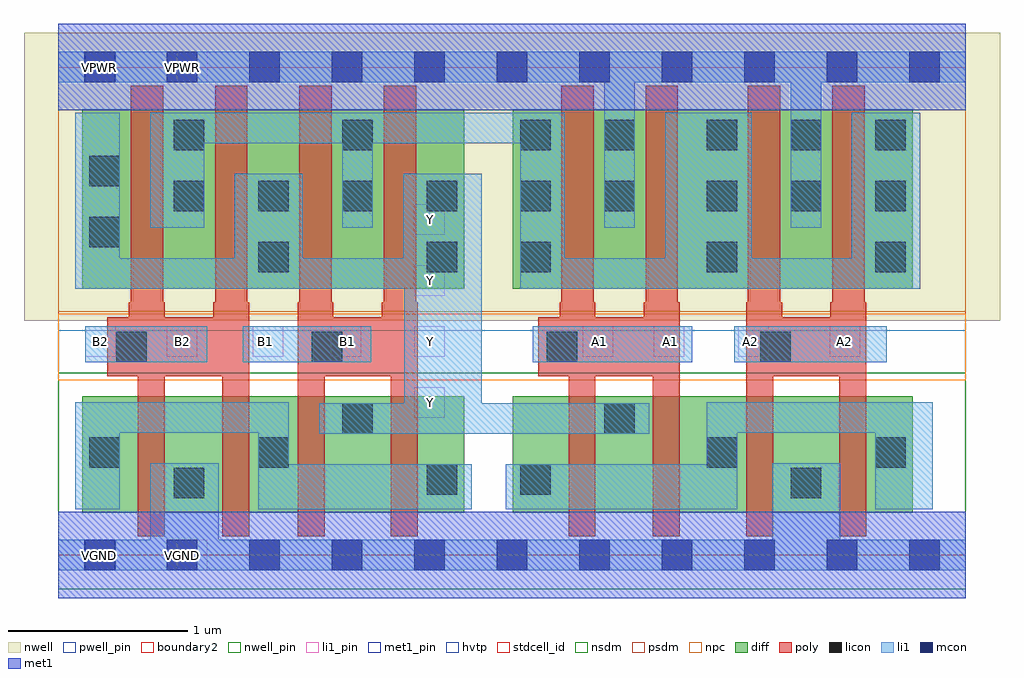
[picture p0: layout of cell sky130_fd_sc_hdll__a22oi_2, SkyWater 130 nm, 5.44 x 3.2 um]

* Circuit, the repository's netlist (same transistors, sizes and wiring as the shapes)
* Copyright 2020 The SkyWater PDK Authors
*
* Licensed under the Apache License, Version 2.0 (the "License");
* you may not use this file except in compliance with the License.
* You may obtain a copy of the License at
*
*     https://www.apache.org/licenses/LICENSE-2.0
*
* Unless required by applicable law or agreed to in writing, software
* distributed under the License is distributed on an "AS IS" BASIS,
* WITHOUT WARRANTIES OR CONDITIONS OF ANY KIND, either express or implied.
* See the License for the specific language governing permissions and
* limitations under the License.
*
* SPDX-License-Identifier: Apache-2.0

.SUBCKT sky130_fd_sc_hdll__a22oi_2 A1 A2 B1 B2 VGND VNB VPB VPWR Y
*.PININFO A1:I A2:I B1:I B2:I VGND:I VNB:I VPB:I VPWR:I Y:O
MMPA0 pndA A1 VPWR VPB sky130_fd_pr__pfet_01v8_hvt m=2 w=1.0U l=0.18U mult=1 sa=0.265
+ sb=0.265 sd=0.28 area=0.063 perim=1.14
MMPA1 pndA A2 VPWR VPB sky130_fd_pr__pfet_01v8_hvt m=2 w=1.0U l=0.18U mult=1 sa=0.265
+ sb=0.265 sd=0.28 area=0.063 perim=1.14
MMPB0 Y B1 pndA VPB sky130_fd_pr__pfet_01v8_hvt m=2 w=1.0U l=0.18U mult=1 sa=0.265
+ sb=0.265 sd=0.28 area=0.063 perim=1.14
MMPB1 Y B2 pndA VPB sky130_fd_pr__pfet_01v8_hvt m=2 w=1.0U l=0.18U mult=1 sa=0.265
+ sb=0.265 sd=0.28 area=0.063 perim=1.14
MMNA0 Y A1 sndA1 VNB sky130_fd_pr__nfet_01v8 m=2 w=0.65U l=0.15U mult=1 sa=0.265
+ sb=0.265 sd=0.28 area=0.063 perim=1.14
MMNA1 sndA1 A2 VGND VNB sky130_fd_pr__nfet_01v8 m=2 w=0.65U l=0.15U mult=1 sa=0.265
+ sb=0.265 sd=0.28 area=0.063 perim=1.14
MMNB0 Y B1 sndB1 VNB sky130_fd_pr__nfet_01v8 m=2 w=0.65U l=0.15U mult=1 sa=0.265
+ sb=0.265 sd=0.28 area=0.063 perim=1.14
MMNB1 sndB1 B2 VGND VNB sky130_fd_pr__nfet_01v8 m=2 w=0.65U l=0.15U mult=1 sa=0.265
+ sb=0.265 sd=0.28 area=0.063 perim=1.14
.ENDS sky130_fd_sc_hdll__a22oi_2

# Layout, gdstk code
import gdstk
lib = gdstk.Library(unit=1e-6, precision=1e-09)
def R(c, l, rs):  # rectangles x0, y0, x1, y1
    for r in rs: c.add(gdstk.rectangle(r[:2], r[2:], *l))
def A(c, l, x, y, w, h, nx, ny, dx, dy):  # array of equal rectangles
    R(c, l, [(x+i*dx, y+j*dy, x+i*dx+w, y+j*dy+h) for i in range(nx) for j in range(ny)])
def P(c, l, *ps):  # polygons
    for p in ps: c.add(gdstk.Polygon(p, *l))
nwell_pin = (64, 16)
nwell = (64, 20)
diff = (65, 20)
poly = (66, 20)
licon = (66, 44)
li1_pin = (67, 16)
li1 = (67, 20)
mcon = (67, 44)
met1_pin = (68, 16)
met1 = (68, 20)
hvtp = (78, 44)
stdcell_id = (81, 4)
nsdm = (93, 44)
psdm = (94, 20)
npc = (95, 20)
pwell_pin = (122, 16)
boundary2 = (236, 0)

sky130_fd_sc_hdll__a22oi = lib.new_cell('sky130_fd_sc_hdll__a22oi_2')
R(sky130_fd_sc_hdll__a22oi, nwell_pin, [(0.15,2.635,0.32,2.805)])
R(sky130_fd_sc_hdll__a22oi, nwell, [(-0.19,1.305,5.25,2.91)])
R(sky130_fd_sc_hdll__a22oi, diff, [(0.135,0.235,2.265,0.885), (2.535,0.235,4.765,0.885), (0.135,1.485,2.265,2.485), (2.535,1.485,4.765,2.485)])
P(sky130_fd_sc_hdll__a22oi, poly, [(1.065,1.41),(1.055,1.41),(1.055,2.615),(0.875,2.615),(0.875,1.41),(0.865,1.41),(0.865,1.325),(0.595,1.325),(0.595,1.41),(0.585,1.41),(0.585,2.615),(0.405,2.615),(0.405,1.41),(0.395,1.41),(0.395,1.325),(0.275,1.325),(0.275,0.995),(0.445,0.995),(0.445,0.105),(0.595,0.105),(0.595,0.995),(0.915,0.995),(0.915,0.105),(1.065,0.105)],
  [(2.005,1.41),(1.995,1.41),(1.995,2.615),(1.815,2.615),(1.815,1.41),(1.805,1.41),(1.805,1.325),(1.535,1.325),(1.535,1.41),(1.525,1.41),(1.525,2.615),(1.345,2.615),(1.345,1.41),(1.335,1.41),(1.335,0.105),(1.485,0.105),(1.485,0.995),(1.855,0.995),(1.855,0.105),(2.005,0.105)],
  [(3.465,1.41),(3.455,1.41),(3.455,2.615),(3.275,2.615),(3.275,1.41),(3.265,1.41),(3.265,1.325),(2.995,1.325),(2.995,1.41),(2.985,1.41),(2.985,2.615),(2.805,2.615),(2.805,1.41),(2.795,1.41),(2.795,1.325),(2.675,1.325),(2.675,0.995),(2.845,0.995),(2.845,0.105),(2.995,0.105),(2.995,0.995),(3.315,0.995),(3.315,0.105),(3.465,0.105)],
  [(4.505,1.41),(4.495,1.41),(4.495,2.615),(4.315,2.615),(4.315,1.41),(4.305,1.41),(4.305,1.325),(4.035,1.325),(4.035,1.41),(4.025,1.41),(4.025,2.615),(3.845,2.615),(3.845,1.41),(3.835,1.41),(3.835,0.105),(3.985,0.105),(3.985,0.995),(4.355,0.995),(4.355,0.105),(4.505,0.105)])
A(sky130_fd_sc_hdll__a22oi, licon, 2.575, 1.575, 0.17, 0.17, 1, 3, 0, 0.34)
A(sky130_fd_sc_hdll__a22oi, licon, 0.645, 1.915, 0.17, 0.17, 4, 1, 0.47, 0)
A(sky130_fd_sc_hdll__a22oi, licon, 3.615, 1.915, 0.17, 0.17, 3, 2, 0.47, 0.34)
R(sky130_fd_sc_hdll__a22oi, licon, [(0.645,0.315,0.815,0.485), (4.085,0.315,4.255,0.485), (2.055,0.335,2.225,0.505), (2.575,0.335,2.745,0.505), (0.175,0.485,0.345,0.655), (1.115,0.485,1.285,0.655), (3.615,0.485,3.785,0.655), (4.555,0.485,4.725,0.655), (1.585,0.675,1.755,0.845), (3.045,0.675,3.215,0.845), (0.325,1.075,0.495,1.245), (1.415,1.075,1.585,1.245), (2.725,1.075,2.895,1.245), (3.915,1.075,4.085,1.245), (1.115,1.575,1.285,1.745), (2.055,1.575,2.225,1.745), (3.615,1.575,3.785,1.745), (4.555,1.575,4.725,1.745), (0.175,1.715,0.345,1.885), (3.045,1.915,3.215,2.085), (0.175,2.055,0.345,2.225), (0.645,2.255,0.815,2.425), (1.585,2.255,1.755,2.425), (3.045,2.255,3.215,2.425)])
A(sky130_fd_sc_hdll__a22oi, li1_pin, 1.985, 0.765, 0.17, 0.17, 1, 4, 0, 0.34)
R(sky130_fd_sc_hdll__a22oi, li1_pin, [(0.66,-0.085,0.83,0.085), (0.15,1.105,0.32,1.275), (0.605,1.105,0.775,1.275), (1.085,1.105,1.255,1.275), (1.52,1.105,1.69,1.275), (2.925,1.105,3.095,1.275), (3.32,1.105,3.49,1.275), (3.79,1.105,3.96,1.275), (4.3,1.105,4.47,1.275), (0.66,2.635,0.83,2.805)])
R(sky130_fd_sc_hdll__a22oi, li1, [(0.15,1.075,0.83,1.275), (1.03,1.075,1.745,1.275), (2.645,1.075,3.535,1.275), (3.77,1.075,4.62,1.275)])
P(sky130_fd_sc_hdll__a22oi, li1, [(5.06,2.805),(0,2.805),(0,2.635),(3.045,2.635),(3.045,1.825),(3.215,1.825),(3.215,2.635),(4.085,2.635),(4.085,1.825),(4.255,1.825),(4.255,2.635),(5.06,2.635)],
  [(5.06,0.085),(4.36,0.085),(4.36,0.51),(3.98,0.51),(3.98,0.085),(0.895,0.085),(0.895,0.51),(0.515,0.51),(0.515,0.085),(0,0.085),(0,-0.085),(5.06,-0.085)],
  [(4.875,0.85),(3.615,0.85),(3.615,0.505),(2.495,0.505),(2.495,0.255),(3.785,0.255),(3.785,0.68),(4.555,0.68),(4.555,0.255),(4.875,0.255)],
  [(4.805,2.465),(4.425,2.465),(4.425,1.655),(3.865,1.655),(3.865,2.465),(3.385,2.465),(3.385,1.655),(2.825,1.655),(2.825,2.465),(0.515,2.465),(0.515,1.825),(0.815,1.825),(0.815,2.295),(1.585,2.295),(1.585,1.825),(1.755,1.825),(1.755,2.295),(2.575,2.295),(2.575,1.485),(4.805,1.485)],
  [(3.295,0.845),(2.36,0.845),(2.36,2.125),(1.925,2.125),(1.925,1.655),(1.365,1.655),(1.365,2.125),(0.985,2.125),(0.985,1.655),(0.345,1.655),(0.345,2.465),(0.095,2.465),(0.095,1.485),(1.93,1.485),(1.93,0.845),(1.455,0.845),(1.455,0.675),(3.295,0.675)],
  [(2.305,0.505),(1.285,0.505),(1.285,0.85),(0.095,0.85),(0.095,0.255),(0.345,0.255),(0.345,0.68),(1.115,0.68),(1.115,0.255),(2.305,0.255)])
A(sky130_fd_sc_hdll__a22oi, mcon, 0.145, -0.085, 0.17, 0.17, 11, 2, 0.46, 2.72)
R(sky130_fd_sc_hdll__a22oi, met1_pin, [(0.15,-0.085,0.32,0.085), (0.15,2.635,0.32,2.805)])
R(sky130_fd_sc_hdll__a22oi, met1, [(0,-0.24,5.06,0.24), (0,2.48,5.06,2.96)])
R(sky130_fd_sc_hdll__a22oi, hvtp, [(0,1.25,5.06,2.72)])
R(sky130_fd_sc_hdll__a22oi, stdcell_id, [(0,0,5.06,2.72)])
R(sky130_fd_sc_hdll__a22oi, nsdm, [(0,-0.19,5.06,1.015)])
R(sky130_fd_sc_hdll__a22oi, psdm, [(0,1.355,5.06,2.91)])
R(sky130_fd_sc_hdll__a22oi, npc, [(0,0.975,5.06,1.345)])
R(sky130_fd_sc_hdll__a22oi, pwell_pin, [(0.15,-0.085,0.32,0.085)])
R(sky130_fd_sc_hdll__a22oi, boundary2, [(0,0,5.06,2.72)])
sky130_fd_sc_hdll__a22oi.add(gdstk.Label('A1', (3.415,1.19), layer=67, texttype=5))
sky130_fd_sc_hdll__a22oi.add(gdstk.Label('A1', (3.015,1.19), layer=67, texttype=5))
sky130_fd_sc_hdll__a22oi.add(gdstk.Label('A2', (3.86,1.19), layer=67, texttype=5))
sky130_fd_sc_hdll__a22oi.add(gdstk.Label('A2', (4.385,1.19), layer=67, texttype=5))
sky130_fd_sc_hdll__a22oi.add(gdstk.Label('B1', (1.615,1.19), layer=67, texttype=5))
sky130_fd_sc_hdll__a22oi.add(gdstk.Label('B2', (0.695,1.19), layer=67, texttype=5))
sky130_fd_sc_hdll__a22oi.add(gdstk.Label('Y', (2.075,0.85), layer=67, texttype=5))
sky130_fd_sc_hdll__a22oi.add(gdstk.Label('Y', (2.075,1.19), layer=67, texttype=5))
sky130_fd_sc_hdll__a22oi.add(gdstk.Label('Y', (2.075,1.87), layer=67, texttype=5))
sky130_fd_sc_hdll__a22oi.add(gdstk.Label('Y', (2.075,1.53), layer=67, texttype=5))
sky130_fd_sc_hdll__a22oi.add(gdstk.Label('VPWR', (0.695,2.72), layer=67, texttype=5))
sky130_fd_sc_hdll__a22oi.add(gdstk.Label('VGND', (0.695,0), layer=67, texttype=5))
sky130_fd_sc_hdll__a22oi.add(gdstk.Label('B2', (0.235,1.19), layer=67, texttype=5))
sky130_fd_sc_hdll__a22oi.add(gdstk.Label('B1', (1.155,1.19), layer=67, texttype=5))
sky130_fd_sc_hdll__a22oi.add(gdstk.Label('VPWR', (0.23,2.72), layer=68, texttype=5))
sky130_fd_sc_hdll__a22oi.add(gdstk.Label('VGND', (0.23,0), layer=68, texttype=5))
sky130_fd_sc_hdll__a22oi.add(gdstk.Label('VPB', (0.235,2.72), layer=64, texttype=5))
sky130_fd_sc_hdll__a22oi.add(gdstk.Label('VNB', (0.235,0), layer=64, texttype=59))
sky130_fd_sc_hdll__a22oi.add(gdstk.Label('a22oi_2', (0,0), layer=83, texttype=44))

lib.write_gds('sky130_fd_sc_hdll__a22oi_2.gds')
